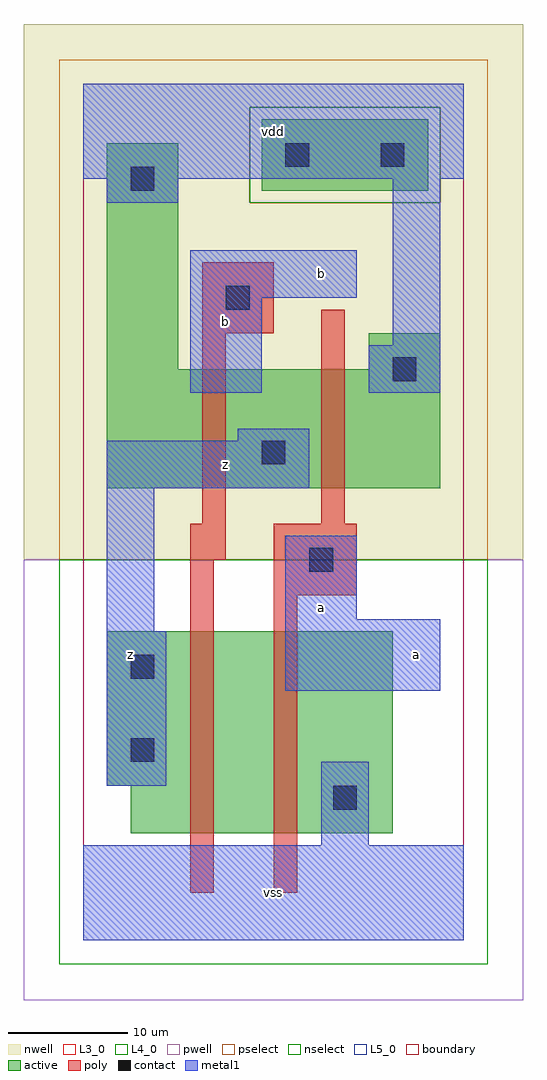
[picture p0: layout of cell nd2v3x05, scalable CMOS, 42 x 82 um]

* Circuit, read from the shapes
.subckt nd2v3x05 a b vdd vss z
M1 n1 b z VSUBS nfet w=17u l=2u
M2 vss a n1 VSUBS nfet w=17u l=2u
M3 z b vdd vdd pfet w=10u l=2u
M4 vdd a z vdd pfet w=10u l=2u
.ends

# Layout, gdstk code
import gdstk
lib = gdstk.Library(unit=1e-6, precision=1e-09)
def R(c, l, rs):  # rectangles x0, y0, x1, y1
    for r in rs: c.add(gdstk.rectangle(r[:2], r[2:], *l))
L3_0 = (3, 0)
L4_0 = (4, 0)
L5_0 = (5, 0)
contact = (25, 0)
pwell = (41, 0)
nwell = (42, 0)
active = (43, 0)
pselect = (44, 0)
nselect = (45, 0)
poly = (46, 0)
metal1 = (49, 0)
boundary = (63, 0)

nd2v3x05 = lib.new_cell('nd2v3x05')
R(nd2v3x05, L3_0, [(4,9,26,13), (2,13,26,26)])
R(nd2v3x05, L4_0, [(2,38,30,48), (2,48,8,67), (24,48,30,51)])
R(nd2v3x05, L5_0, [(15,63,29,69)])
R(nd2v3x05, contact, [(21,11,23,13), (4,15,6,17), (4,22,6,24), (19,31,21,33), (15,40,17,42), (26,47,28,49), (12,53,14,55), (4,63,6,65), (17,65,19,67), (25,65,27,67)])
R(nd2v3x05, pwell, [(-5,-5,37,32)])
R(nd2v3x05, nwell, [(-5,32,37,77)])
R(nd2v3x05, active, [(4,9,26,13), (2,13,26,26), (2,38,30,48), (2,48,8,67), (24,48,30,51), (15,63,29,69)])
R(nd2v3x05, pselect, [(-2,32,34,62), (-2,62,14,70), (30,62,34,70), (-2,70,34,74)])
R(nd2v3x05, nselect, [(-2,-2,34,32), (14,62,30,70)])
R(nd2v3x05, poly, [(9,4,11,32), (16,4,18,29), (16,29,23,35), (9,32,12,35), (10,35,12,51), (20,35,22,53), (10,51,16,57)])
R(nd2v3x05, metal1, [(0,0,32,8), (20,8,24,15), (2,13,7,26), (17,21,30,27), (2,26,6,38), (17,27,23,34), (2,38,19,42), (13,42,19,43), (9,46,15,54), (24,46,30,50), (26,50,30,64), (9,54,23,58), (2,62,8,64), (0,64,32,72)])
R(nd2v3x05, boundary, [(0,0,32,72)])
nd2v3x05.add(gdstk.Label('z', (4,24), layer=49, texttype=0))
nd2v3x05.add(gdstk.Label('z', (12,40), layer=49, texttype=0))
nd2v3x05.add(gdstk.Label('b', (12,52), layer=49, texttype=0))
nd2v3x05.add(gdstk.Label('vss', (16,4), layer=49, texttype=0))
nd2v3x05.add(gdstk.Label('a', (20,28), layer=49, texttype=0))
nd2v3x05.add(gdstk.Label('b', (20,56), layer=49, texttype=0))
nd2v3x05.add(gdstk.Label('vdd', (16,68), layer=49, texttype=0))
nd2v3x05.add(gdstk.Label('a', (28,24), layer=49, texttype=0))

lib.write_gds('nd2v3x05.gds')
